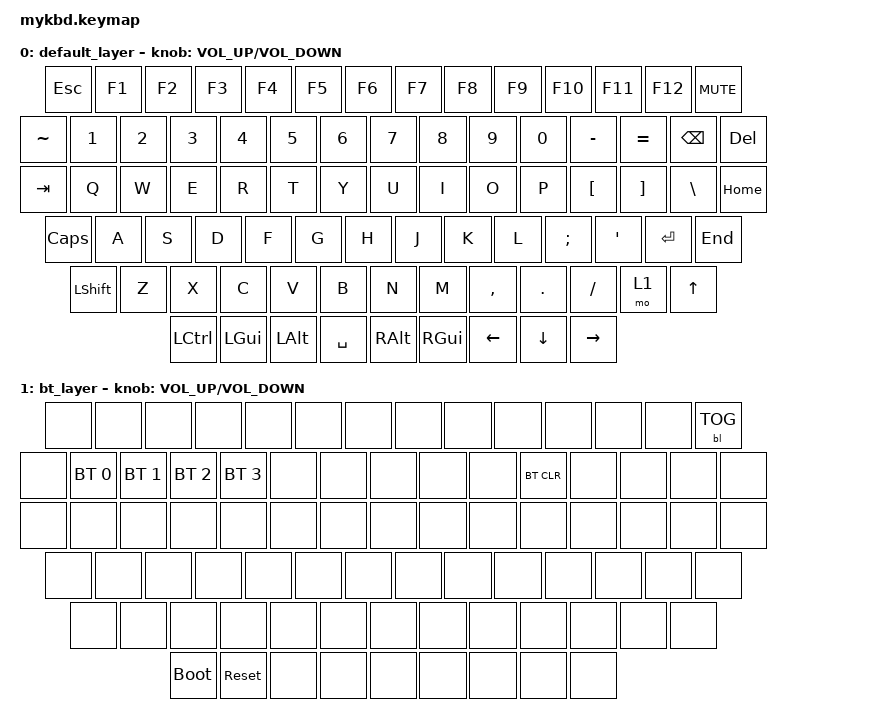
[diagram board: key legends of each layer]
#include <behaviors.dtsi>
#include <dt-bindings/zmk/keys.h>
#include <dt-bindings/zmk/bt.h>
#include <dt-bindings/zmk/backlight.h>

/ {
    behaviors {
        hw_soft_off: hw_soft_off {
            compatible = "zmk,behavior-soft-off";
            #binding-cells = <0>;
            split-peripheral-off-on-press; // Turn peripheral off immediately for reliability
            hold-time-ms = <2000>; // Only turn off if the key is held for 2 seconds or longer.
        };
    };

    keymap {
        compatible = "zmk,keymap";

        default_layer {
            // ------------------------------------------------------------------
            // |ESC|   | F1| F2| F3| F4| | F5| F6| F7| F8| | F9|F10|F11|F12||ENC|
            // | ~ | 1 | 2 | 3 | 4 | 5 | 6 | 7 | 8 | 9 | 0 | - | = |  BCK | |DEL|
            // |TAB| Q | W | E | R | T | Y | U | I | O | P | [ | ] |  \  |  |HOM|
            // | CAP| A | S | D | F | G | H | J | K | L | ; | ' | |  ENT |  |END|
            // | SHIFT | Z | X | C | V | B | N | M | , | . | / | FN|    | UP|   |
            // | CTL|WIN|ALT|             SPACE            |ALT|WIN||LFT|DWN|RGT|
            // ------------------------------------------------------------------

            bindings = <
                &kp ESC &kp F1 &kp F2 &kp F3 &kp F4 &kp F5 &kp F6 &kp F7 &kp F8 &kp F9 &kp F10 &kp F11 &kp F12 &kp C_MUTE
                &kp TILDE &kp N1 &kp N2 &kp N3 &kp N4 &kp N5 &kp N6 &kp N7 &kp N8 &kp N9 &kp N0 &kp MINUS &kp EQUAL &kp BSPC &kp DELETE
                &kp TAB &kp Q &kp W &kp E &kp R &kp T &kp Y &kp U &kp I &kp O &kp P &kp LBKT &kp RBKT &kp BSLH &kp HOME
                &kp CAPSLOCK &kp A &kp S &kp D &kp F &kp G &kp H &kp J &kp K &kp L &kp SEMI &kp SQT &kp RET &kp END
                &kp LSHIFT &kp Z &kp X &kp C &kp V &kp B &kp N &kp M &kp COMMA &kp DOT &kp FSLH &mo 1 &kp UP
                &kp LCTRL &kp LGUI &kp LALT &kp SPACE &kp RALT &kp RGUI &kp LEFT &kp DOWN &kp RIGHT
            >;

            sensor-bindings = <&inc_dec_kp C_VOLUME_UP C_VOLUME_DOWN>;
        };

        bt_layer {
            // T -> &trans = transparent (passes keypress to next active layer)
            // X -> &none  = no binding, (no keycode generated)
            // ------------------------------------------------------------------
            // | X |   | X | X | X | X | | X | X | X | X | | X | X | X | X ||TOG|
            // | X |BT0|BT1|BT2|BT3| X | X | X | X | X |CLR| X | X |   X  | | X |
            // | X | X | X | X | X | X | X | X | X | X | X | X | X |  X  |  | X |
            // | X  | X | X | X | X | X | X | X | X | X | X | X | |   X  |  | X |
            // | X     | X | X | X | X | X | X | X | X | X | X | X |    | X |   |
            // |BTLD|RST| X |               X              | X | X || X | X | X |
            // ------------------------------------------------------------------

            bindings = <
                &none &none &none &none &none &none &none &none &none &none &none &none &none &bl BL_TOG
                &none &bt BT_SEL 0 &bt BT_SEL 1 &bt BT_SEL 2 &bt BT_SEL 3 &none &none &none &none &none &bt BT_CLR &none &none &none &none
                &none &none &none &none &none &none &none &none &none &none &none &none &none &none &none
                &none &none &none &none &none &none &none &none &none &none &none &none &none &none
                &none &none &none &none &none &none &none &none &none &none &none &none &none
                &bootloader &sys_reset &none &none &none &none &none &none &none
            >;

            sensor-bindings = <&inc_dec_kp C_VOLUME_UP C_VOLUME_DOWN>;
        };
    };
};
